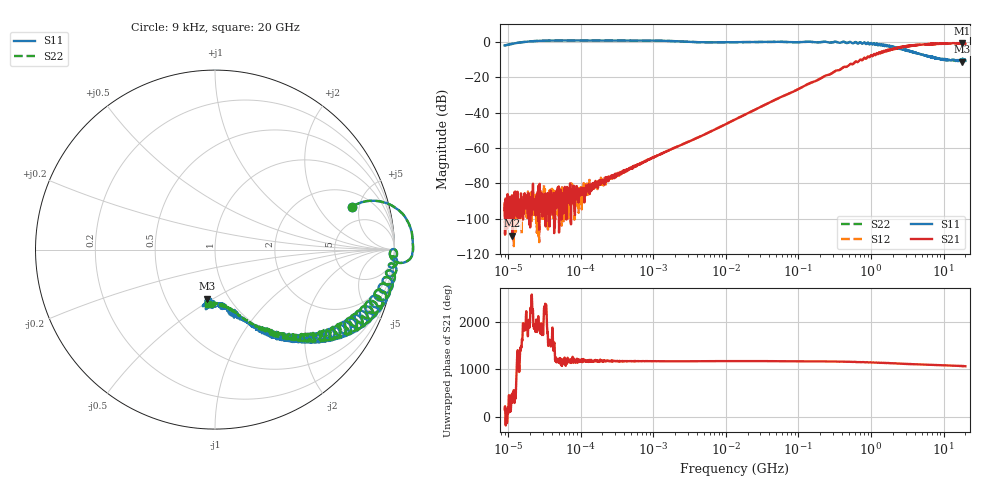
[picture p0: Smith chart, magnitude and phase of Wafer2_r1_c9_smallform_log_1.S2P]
!  2-Port S-parameters saved by WinCal
! VAR MeasName=S-Parameters (CALIBRATED_DATA) read from VNA (P5004A)
! VAR MeasDate=26/04/2024 18:42:11
! VAR NAME=Wafer2_r1_c9_smallform_log
! VAR FILENAME=Wafer2_r1_c9_smallform_log_1.S2P
! VAR DATE=26/04/2024 18:42:11
! VAR PHYS_PORTS=1,2
! VAR ObjTypeName=DATASET
! VAR IndexType=Frequency
# Hz S MA R 50
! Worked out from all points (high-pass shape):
!   2000 points, 9 kHz to 20 GHz, reference 50 ohm
!   highest |S21| = -0.61 dB at 18.05 GHz (marker M1); lowest = -109.8 dB at 11.46 kHz (marker M2)
!   |S21| within 3 dB of the highest: 2.252 GHz to 2.329 GHz (76.88 MHz wide, 3.36 % of centre); 2.333 GHz to end of sweep (the widest 2 of 4)
!   lowest |S11| = -11.1 dB at 18.19 GHz (marker M3), VSWR 1.77, Z = 39.5 - j23.5 ohm
!   |S11| at or under -10 dB: 11.47 GHz to 13.18 GHz (1.708 GHz wide, 13.9 % of centre); 14.04 GHz to 17.12 GHz (3.08 GHz wide, 19.8 % of centre); 19.16 GHz to 19.85 GHz (688.8 MHz wide, 3.53 % of centre) (the widest 3 of 16)
!   |S22| runs from -10.8 to 0.9 dB; largest |S21 - S12| = 0.036
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9000  0.7978 17.3  1.75e-05 153.1  2.012e-05 -92.3  0.7978 17.3
11455.58  0.8869 17.7  3.235e-06 94.7  1.215e-05 14.3  0.8869 17.7
18559.47  1.028 13.3  2.689e-05 112.2  1.127e-05 131.7  1.028 13.2
27745.31  1.081 8.9  4.085e-05 126.0  1.747e-05 76.5  1.081 8.9
103439.5  1.102 2.1  7.537e-05 132.1  7.284e-05 90.1  1.102 2.1
211755.4  1.103 0.7  0.0001205 90.0  0.0001105 99.5  1.103 0.7
287861.5  1.103 0.3  0.0001487 97.0  0.0001447 86.1  1.103 0.2
1180198  1.09 -2.6  0.0006264 87.2  0.0006238 85.9  1.09 -2.6
4563799  0.9804 -2.6  0.002146 86.6  0.002167 86.5  0.9805 -2.5
1.346554e7  0.986 0.1  0.006354 89.3  0.006405 88.7  0.9861 0.1
1.105652e8  0.9952 -2.2  0.05125 86.5  0.05158 86.1  0.9947 -2.2
1.536358e8  1 -5.7  0.07187 82.6  0.07118 82.9  1.001 -5.6
2.966476e8  0.9823 -6.8  0.1336 81.3  0.1348 81.2  0.982 -6.8
7.506948e8  0.8958 -21.3  0.3044 66.2  0.3036 66.4  0.8975 -21.0
1.752917e9  0.7405 -38.3  0.5667 47.9  0.5698 47.8  0.74 -38.0
2.860783e9  0.622 -51.3  0.743 33.6  0.7473 33.3  0.6195 -50.8
5.364551e9  0.426 -68.3  0.8522 15.1  0.85 14.8  0.4241 -66.5
9.488158e9  0.3268 -82.5  0.898 0.9  0.8884 0.7  0.3253 -78.2
1.337846e10  0.3181 -89.3  0.9294 -6.6  0.9241 -7.4  0.3025 -87.1
1.805428e10  0.333 -98.8  0.932 -15.5  0.9059 -17.0  0.2882 -93.3
1.818676e10  0.2779 -99.3  0.8888 -17.0  0.8778 -14.8  0.3174 -92.3
2e10  0.2891 -98.0  0.8919 -18.8  0.9051 -18.1  0.3033 -97.9
